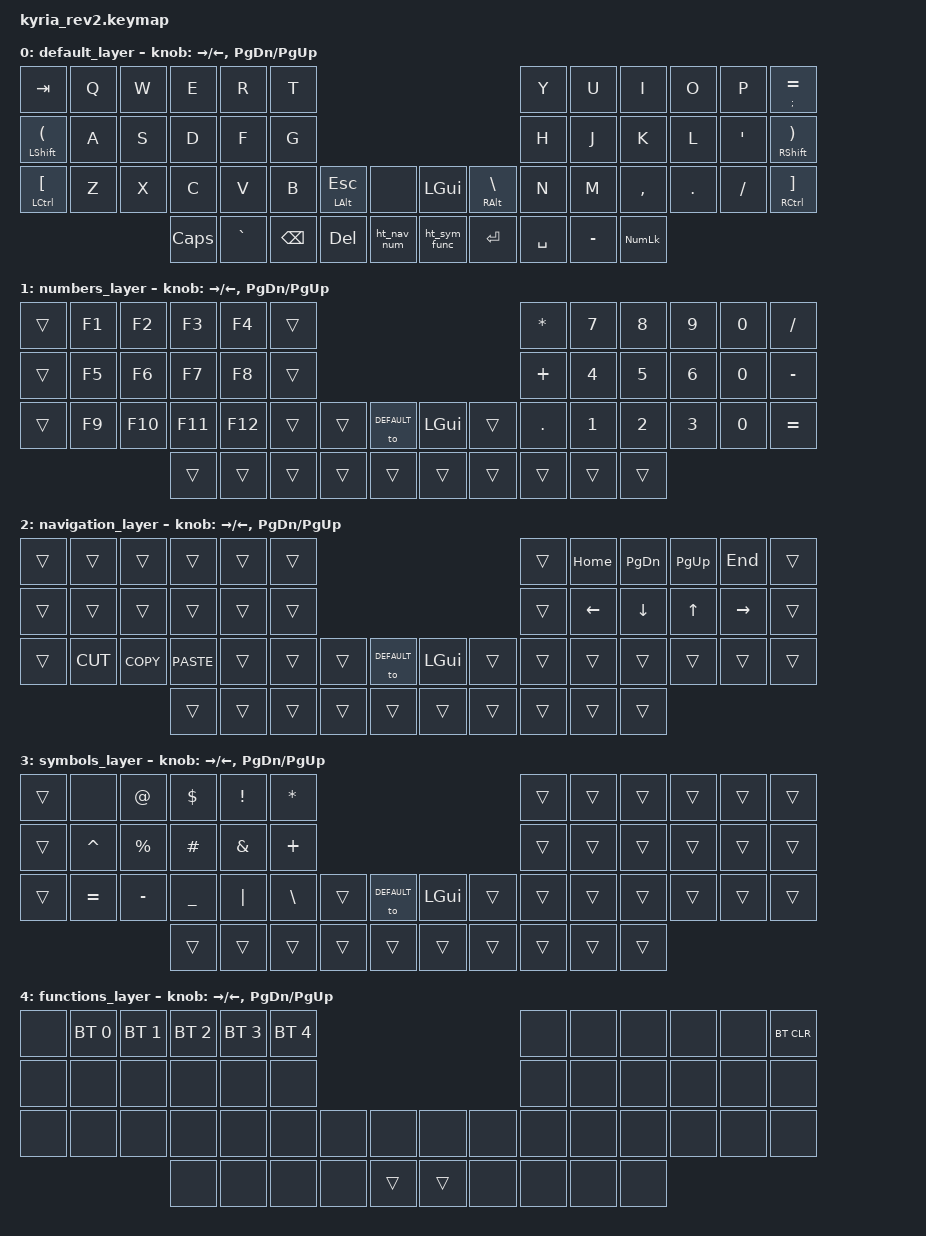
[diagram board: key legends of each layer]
/*
 * Copyright (c) 2020 The ZMK Contributors
 *
 * SPDX-License-Identifier: MIT
 */

#include <behaviors.dtsi>
#include <dt-bindings/zmk/bt.h>
#include <dt-bindings/zmk/keys.h>

#define DEFAULT 0
#define NUMBERS 1
#define NAVI 2
#define SYMBOLS 3
#define FUNCTIONS 4

&caps_word {
    continue-list = <UNDERSCORE MINUS>;
};

/ {

	behaviors {
			ht_nav_num: hold_tap_numbers {
				compatible = "zmk,behavior-tap-dance";
				label = "HOLD_TAP_NAVI_NUMBERS";
				#binding-cells = <0>;
				tapping-term-ms = <200>;
				bindings = <&mo NAVI>, <&mo NUMBERS>;
			};
			
			ht_sym_func: hold_tap_navi {
				compatible = "zmk,behavior-tap-dance";
				label = "HOLD_TAP_SYMBOL_FUNCTION";
				#binding-cells = <0>;
				tapping-term-ms = <200>;
				bindings = <&mo SYMBOLS>, <&mo FUNCTIONS>;
			};
	};
		
	combos {
		compatible = "zmk,combos";
		combo_caps_word {
			timeout-ms = <100>;
			key-positions = <12 23>;
			bindings = <&caps_word>;
		};
	};

    keymap {
        compatible = "zmk,keymap";
/*
	0	1	2	3	4	5						6	7	8	9	10	11
	12	13	14	15	16	17						18	19	20	21	22	23
	24	25	26	27	28	29	30	31		32	33	34	35	36	37	38	39
				40	41	42	43	44		45	46	47	48	49
*/

		default_layer {
/*
	|TAB| Q	| W	| E	| R	| T	|		|***|		| Y	| U	| I	| O	| P	|SEQ|
	|LS(| A | S	| D	| F	| G	|		|***|		| H	| J	| K	| L	| '	|RS)|
	|LC[| Z	| X	| C	| V	| B	|LAL|	|***|GUI|RAL| N	| M	| ,	| .	| /	|RC]|
				|CLK| `	|BKS|DEL|LYR|***|LYR|RET|SPC| -	|NLK|
*/	
			bindings = <
	&kp TAB        &kp Q &kp W &kp E    &kp R     &kp T                                                          &kp Y     &kp U     &kp I      &kp O   &kp P    &mt SEMI EQUAL
	&mt LSHFT LPAR &kp A &kp S &kp D    &kp F     &kp G                                                          &kp H     &kp J     &kp K      &kp L   &kp APOS &mt RSHFT RPAR
	&mt LCTRL LBKT &kp Z &kp X &kp C    &kp V     &kp B    &mt LALT ESC &none         &kp LGUI     &mt RALT BSLH &kp N     &kp M     &kp COMMA  &kp DOT &kp FSLH &mt RCTRL RBKT
	                           &kp CAPS &kp GRAVE &kp BSPC &kp DEL      &ht_nav_num   &ht_sym_func &kp RET       &kp SPACE &kp MINUS &kp KP_NUM
			>;

			sensor-bindings = <&inc_dec_kp RIGHT LEFT &inc_dec_kp PG_DN PG_UP>;
		};
		
		numbers_layer {
/*
	|   |F1	|F2	|F3	|F4 |   |		|***|		| *	| 7	| 8	| 9	| 0	| /	|
	|	|F5	|F6	|F7	|F8	|  	|		|***|		| +	| 4	| 5	| 6	| 0	| -	|
	|	|F9	|F10|F11|F12|  	|	|	|***|	|	| .	| 1	| 2	| 3	| 0	| =	|
				|	|	|	|	|	|***|	|	|	|	|	|
*/	
			bindings = <
	&trans  &kp F1 &kp F2  &kp F3  &kp F4  &trans                                      &kp ASTRK &kp N7 &kp N8 &kp N9 &kp N0 &kp FSLH
	&trans  &kp F5 &kp F6  &kp F7  &kp F8  &trans                                      &kp PLUS  &kp N4 &kp N5 &kp N6 &kp N0 &kp MINUS
	&trans  &kp F9 &kp F10 &kp F11 &kp F12 &trans &trans &to DEFAULT   &kp LGUI &trans &kp DOT   &kp N1 &kp N2 &kp N3 &kp N0 &kp EQUAL
	                       &trans  &trans  &trans &trans &trans        &trans   &trans &trans    &trans &trans
			>;

			sensor-bindings = <&inc_dec_kp RIGHT LEFT &inc_dec_kp PG_DN PG_UP>;
		};

		navigation_layer {
/*
	|   |   |   |   |   |   |		|***|		|	|HOM|PDN|PUP|END|	|
	|	|  	|  	|  	|  	|  	|		|***|		|	|<-	| v	| ^	| ->|	|
	|	|  	|CUT|CPY|PST|  	|	|	|***|	|	|	|	|	|	|	|	|
				|	|	|	|	|	|***|	|	|	|	|	|
*/	
			bindings = <
	&trans &trans    &trans     &trans      &trans &trans                                      &trans &kp HOME &kp PG_DN &kp PG_UP &kp END   &trans
	&trans &trans    &trans     &trans      &trans &trans                                      &trans &kp LEFT &kp DOWN  &kp UP    &kp RIGHT &trans
	&trans &kp K_CUT &kp K_COPY &kp K_PASTE &trans &trans &trans &to DEFAULT   &kp LGUI &trans &trans &trans   &trans    &trans    &trans    &trans
	                            &trans      &trans &trans &trans &trans        &trans   &trans &trans &trans   &trans
			>;

			sensor-bindings = <&inc_dec_kp RIGHT LEFT &inc_dec_kp PG_DN PG_UP>;
		};

		symbols_layer {
/*
	|	|  	| @ | $ | ! | * |		|***|		|	|	|	|	|	|	|
	| 	| ^	| %	| #	| &	| +	|		|***|		|	|	|	|	|	|	|
	|	| =	| -	| _	| |	| \	|	|	|***|	|	|	|	|	|	|	|	|
				|	|	|	|	|	|***|	|	|	|	|	|
*/
			bindings = <
	&trans &none     &kp AT    &kp DLLR  &kp EXCL &kp ASTRK                                      &trans &trans &trans &trans &trans &trans
	&trans &kp CARET &kp PRCNT &kp HASH  &kp AMPS &kp PLUS                                       &trans &trans &trans &trans &trans &trans
	&trans &kp EQUAL &kp MINUS &kp UNDER &kp PIPE &kp BSLH  &trans &to DEFAULT   &kp LGUI &trans &trans &trans &trans &trans &trans &trans
	                           &trans    &trans   &trans    &trans &trans        &trans   &trans &trans &trans &trans
			>;

			sensor-bindings = <&inc_dec_kp RIGHT LEFT &inc_dec_kp PG_DN PG_UP>;
		};
		
		functions_layer {
/*
	|   |   |   |   |   |   |		|***|		|	|	|	|	|	|	|
	|	|  	|  	|  	|  	|  	|		|***|		|	|	|	|	|	|	|
	|	|  	|  	| 	|  	|  	|	|	|***|	|	|	|	|	|	|	|	|
				|	|	|	|	|	|***|	|	|	|	|	|
*/	
			bindings = <
	&none &bt BT_SEL 0 &bt BT_SEL 1 &bt BT_SEL 2 &bt BT_SEL 3 &bt BT_SEL 4                              &none &none &none &none &none &bt BT_CLR
	&none &none        &none        &none        &none        &none                                     &none &none &none &none &none &none
	&none &none        &none		&none		 &none 		  &none        &none  &none    &none  &none &none &none &none &none &none &none
	                                &none        &none        &none        &none  &trans   &trans &none &none &none &none
			>;

			sensor-bindings = <&inc_dec_kp RIGHT LEFT &inc_dec_kp PG_DN PG_UP>;
		};
	};
};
